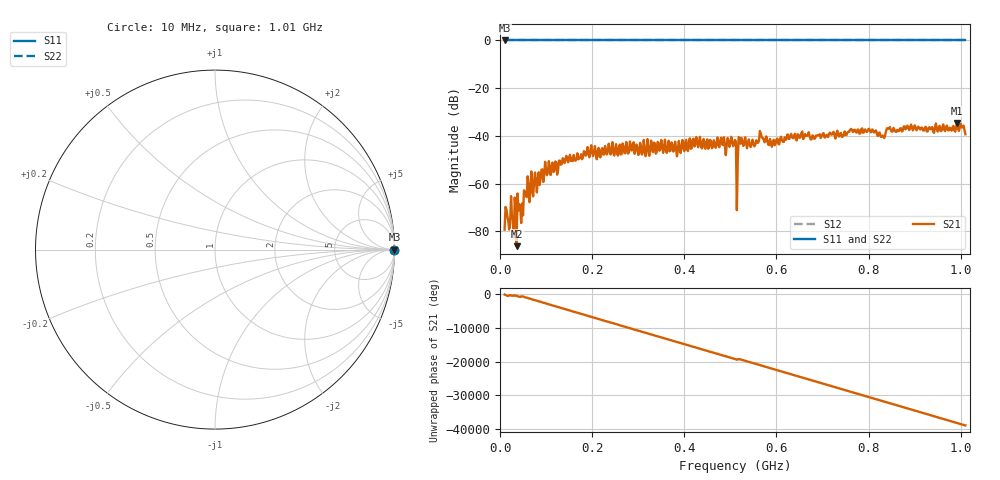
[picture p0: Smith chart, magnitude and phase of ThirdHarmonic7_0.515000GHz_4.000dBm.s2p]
! 8/17/2025 3:03:22 PM
! C:\ANRITSUVNA\TEMP\TEMP.S2P
! CHANNEL.1
! TR.MEASUREMENT
! RAW.DATA
! RF.CORRECTION.OFF
! AVERAGING.OFF
! IF.BANDWIDTH: 5KHZ
! SWEEPTYPE:  FREQ.SWEEP(Linear)
! Reference Plane Port Info
! PORT:  PORT1  PORT2
! DISTANCE:  0  m  0  m
! TIME:  0  s  0  s
! PHASE.OFFSET:  0  deg.  0  deg.
! LOSS:  0  dB  0  dB
! REF.LOSS:  0  dB  0  dB
! REF.FREQ:  0  Hz  0  Hz
! Power Info
! POWER:  -20  dBm  -20  dBm
! EFF.POWER:  -20  dBm  -20  dBm
! SOURCE.ATTEN:  0  dB  0  dB
! TEST.ATTEN:  0  dB  0  dB
# GHZ S RI R 50.0
! FREQ.GHZ  S11RE  S11IM  S21RE  S21IM  S12RE  S12IM  S22RE  S22IM
!; PortSelection: Port_12
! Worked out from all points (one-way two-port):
!   501 points, 10 MHz to 1.01 GHz, reference 50 ohm
!   highest |S21| = -34.61 dB at 992 MHz (marker M1); lowest = -86.2 dB at 36 MHz (marker M2)
!   lowest |S11| = 0.0 dB at 10 MHz (marker M3)
!   |S11| at or under -10 dB: nowhere
!   |S22| runs from 0.0 to 0.0 dB; largest |S21 - S12| = 1
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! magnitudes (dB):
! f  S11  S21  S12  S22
! 10 MHz  0.0  -79.3  0.0  0.0
! 28 MHz  0.0  -75.2  0.0  0.0
! 32 MHz  0.0  -65.8  0.0  0.0
! 36 MHz  0.0  -86.2  0.0  0.0
! 46 MHz  0.0  -76.6  0.0  0.0
! 56 MHz  0.0  -63.8  0.0  0.0
! 68 MHz  0.0  -54.9  0.0  0.0
! 102 MHz  0.0  -56.5  0.0  0.0
! 178 MHz  0.0  -49.8  0.0  0.0
! 344 MHz  0.0  -43.0  0.0  0.0
! 506 MHz  0.0  -44.4  0.0  0.0
! 508 MHz  0.0  -42.7  0.0  0.0
! 510 MHz  0.0  -41.7  0.0  0.0
! 518 MHz  0.0  -40.5  0.0  0.0
! 520 MHz  0.0  -41.0  0.0  0.0
! 522 MHz  0.0  -43.3  0.0  0.0
! 678 MHz  0.0  -39.8  0.0  0.0
! 764 MHz  0.0  -37.5  0.0  0.0
! 830 MHz  0.0  -39.9  0.0  0.0
! 844 MHz  0.0  -36.9  0.0  0.0
! 992 MHz  0.0  -34.6  0.0  0.0
! 1.01 GHz  0.0  -39.3  0.0  0.0
